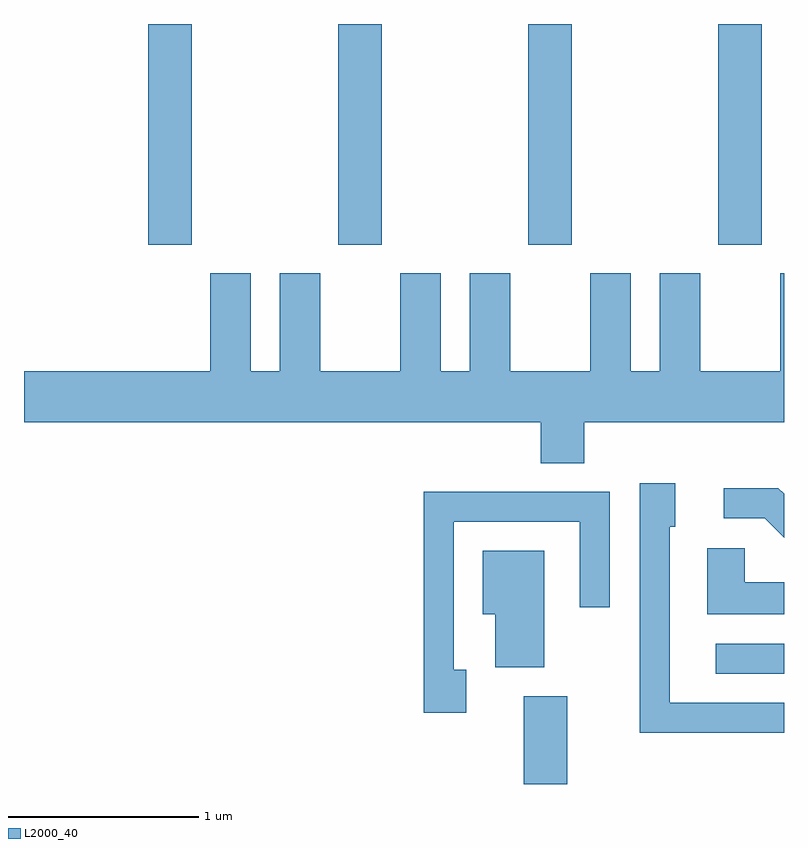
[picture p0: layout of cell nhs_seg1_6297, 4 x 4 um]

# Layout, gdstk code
import gdstk
lib = gdstk.Library(unit=1e-6, precision=1e-09)
def R(c, l, rs):  # rectangles x0, y0, x1, y1
    for r in rs: c.add(gdstk.rectangle(r[:2], r[2:], *l))
def A(c, l, x, y, w, h, nx, ny, dx, dy):  # array of equal rectangles
    R(c, l, [(x+i*dx, y+j*dy, x+i*dx+w, y+j*dy+h) for i in range(nx) for j in range(ny)])
def P(c, l, *ps):  # polygons
    for p in ps: c.add(gdstk.Polygon(p, *l))
L2000_40 = (2000, 40)

nhs_seg1_6297 = lib.new_cell('nhs_seg1_6297')
A(nhs_seg1_6297, L2000_40, 376.266, 860.551, 0.228, 1.161, 4, 1, 1, 0)
R(nhs_seg1_6297, L2000_40, [(378.241,857.712,378.469,858.174), (379.253,858.291,379.611,858.449)])
P(nhs_seg1_6297, L2000_40, [(378.559,859.616),(379.611,859.616),(379.611,860.399),(379.591,860.399),(379.591,859.884),(379.169,859.884),(379.169,860.399),(378.956,860.399),(378.956,859.884),(378.804,859.884),(378.804,860.399),(378.591,860.399),(378.591,859.884),(378.169,859.884),(378.169,860.399),(377.956,860.399),(377.956,859.884),(377.804,859.884),(377.804,860.399),(377.591,860.399),(377.591,859.884),(377.169,859.884),(377.169,860.399),(376.956,860.399),(376.956,859.884),(376.804,859.884),(376.804,860.399),(376.591,860.399),(376.591,859.884),(375.611,859.884),(375.611,859.616),(378.331,859.616),(378.331,859.401),(378.559,859.401)],
  [(379.611,858.139),(379.009,858.139),(379.009,859.066),(379.039,859.066),(379.039,859.294),(378.851,859.294),(378.851,857.981),(379.611,857.981)],
  [(379.611,859.24),(379.582,859.269),(379.293,859.269),(379.293,859.111),(379.509,859.111),(379.611,859.009)],
  [(377.939,858.314),(377.874,858.314),(377.874,859.091),(378.536,859.091),(378.536,858.643),(378.694,858.643),(378.694,859.249),(377.716,859.249),(377.716,858.086),(377.939,858.086)],
  [(379.611,858.774),(379.404,858.774),(379.404,858.954),(379.206,858.954),(379.206,858.606),(379.611,858.606)],
  [(378.349,858.939),(378.026,858.939),(378.026,858.606),(378.091,858.606),(378.091,858.326),(378.349,858.326)])

lib.write_gds('nhs_seg1_6297.gds')
